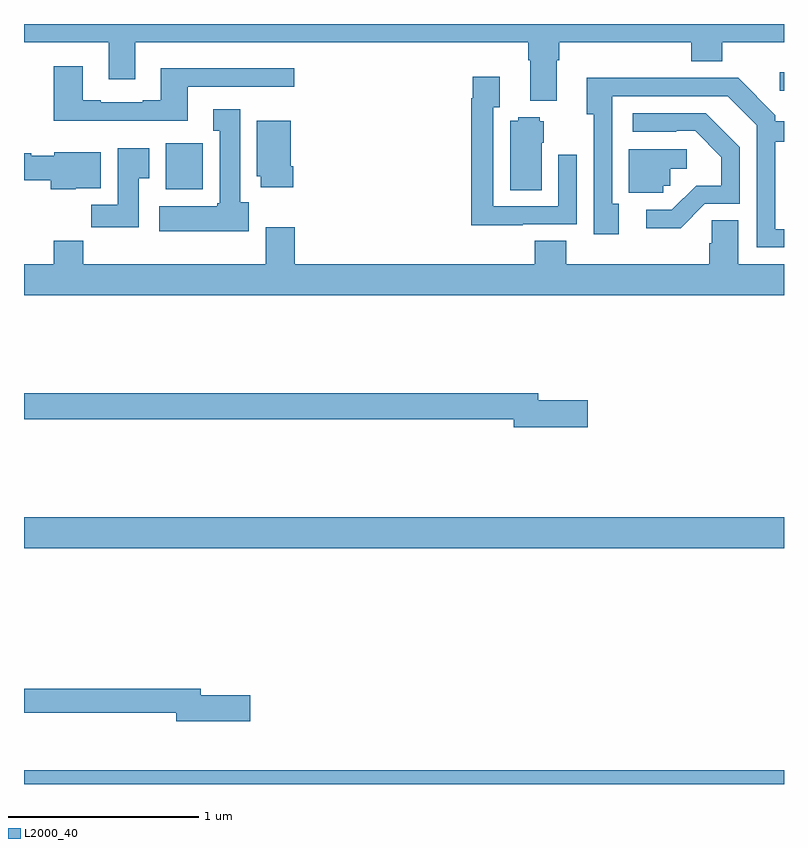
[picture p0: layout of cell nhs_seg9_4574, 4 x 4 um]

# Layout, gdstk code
import gdstk
lib = gdstk.Library(unit=1e-6, precision=1e-09)
def R(c, l, rs):  # rectangles x0, y0, x1, y1
    for r in rs: c.add(gdstk.rectangle(r[:2], r[2:], *l))
def P(c, l, *ps):  # polygons
    for p in ps: c.add(gdstk.Polygon(p, *l))
L2000_40 = (2000, 40)

nhs_seg9_4574 = lib.new_cell('nhs_seg9_4574')
R(nhs_seg9_4574, L2000_40, [(373,1208.5,377,1208.572), (373,1209.74,377,1209.904), (373.745,1211.63,373.942,1211.872), (376.977,1212.149,377,1212.247)])
P(nhs_seg9_4574, L2000_40, [(375.805,1212.308),(375.818,1212.308),(375.818,1212.404),(376.511,1212.404),(376.511,1212.305),(376.676,1212.305),(376.676,1212.404),(377,1212.404),(377,1212.5),(373,1212.5),(373,1212.404),(373.445,1212.404),(373.445,1212.21),(373.585,1212.21),(373.585,1212.404),(375.653,1212.404),(375.653,1212.308),(375.665,1212.308),(375.665,1212.095),(375.805,1212.095)],
  [(373.861,1212.171),(374.422,1212.171),(374.422,1212.268),(373.721,1212.268),(373.721,1212.1),(373.625,1212.1),(373.625,1212.087),(373.405,1212.087),(373.405,1212.1),(373.309,1212.1),(373.309,1212.277),(373.157,1212.277),(373.157,1211.99),(373.861,1211.99)],
  [(375.625,1211.445),(375.909,1211.445),(375.909,1211.812),(375.813,1211.812),(375.813,1211.541),(375.471,1211.541),(375.471,1212.062),(375.505,1212.062),(375.505,1212.223),(375.363,1212.223),(375.363,1212.11),(375.355,1212.11),(375.355,1211.441),(375.625,1211.441)],
  [(377,1211.421),(376.954,1211.421),(376.954,1211.88),(377,1211.88),(377,1211.989),(376.953,1211.989),(376.953,1212.021),(376.758,1212.216),(376.427,1212.216),(376.427,1212.218),(375.962,1212.218),(375.962,1212.026),(375.999,1212.026),(375.999,1211.394),(376.129,1211.394),(376.129,1211.554),(376.095,1211.554),(376.095,1212.12),(376.704,1212.12),(376.857,1211.967),(376.857,1211.325),(377,1211.325)],
  [(374.182,1211.562),(374.137,1211.562),(374.137,1212.052),(373.997,1212.052),(373.997,1211.939),(374.03,1211.939),(374.03,1211.556),(374.017,1211.556),(374.017,1211.542),(373.713,1211.542),(373.713,1211.408),(374.182,1211.408)],
  [(376.584,1211.553),(376.767,1211.553),(376.767,1211.851),(376.588,1212.03),(376.203,1212.03),(376.203,1211.934),(376.433,1211.934),(376.433,1211.937),(376.533,1211.937),(376.67,1211.8),(376.67,1211.65),(376.537,1211.65),(376.41,1211.523),(376.275,1211.523),(376.275,1211.426),(376.456,1211.426)],
  [(375.724,1211.874),(375.736,1211.874),(375.736,1211.988),(375.714,1211.988),(375.714,1212.01),(375.6,1212.01),(375.6,1211.992),(375.56,1211.992),(375.56,1211.626),(375.724,1211.626)],
  [(374.417,1211.752),(374.404,1211.752),(374.404,1211.992),(374.225,1211.992),(374.225,1211.7),(374.246,1211.7),(374.246,1211.64),(374.417,1211.64)],
  [(373.603,1211.689),(373.66,1211.689),(373.66,1211.845),(373.493,1211.845),(373.493,1211.548),(373.354,1211.548),(373.354,1211.43),(373.603,1211.43)],
  [(376.365,1211.649),(376.401,1211.649),(376.401,1211.738),(376.489,1211.738),(376.489,1211.841),(376.184,1211.841),(376.184,1211.613),(376.365,1211.613)],
  [(373.272,1211.636),(373.405,1211.636),(373.405,1211.824),(373.158,1211.824),(373.158,1211.806),(373.038,1211.806),(373.038,1211.819),(373,1211.819),(373,1211.677),(373.142,1211.677),(373.142,1211.63),(373.272,1211.63)],
  [(377,1211.236),(376.759,1211.236),(376.759,1211.468),(376.621,1211.468),(376.621,1211.346),(376.607,1211.346),(376.607,1211.236),(375.854,1211.236),(375.854,1211.36),(375.689,1211.36),(375.689,1211.236),(374.426,1211.236),(374.426,1211.431),(374.273,1211.431),(374.273,1211.236),(373.313,1211.236),(373.313,1211.36),(373.157,1211.36),(373.157,1211.236),(373,1211.236),(373,1211.072),(377,1211.072)],
  [(375.967,1210.52),(375.706,1210.52),(375.706,1210.556),(373,1210.556),(373,1210.42),(375.578,1210.42),(375.578,1210.378),(375.967,1210.378)],
  [(374.191,1208.966),(373.93,1208.966),(373.93,1209.002),(373,1209.002),(373,1208.874),(373.802,1208.874),(373.802,1208.831),(374.191,1208.831)])

lib.write_gds('nhs_seg9_4574.gds')
